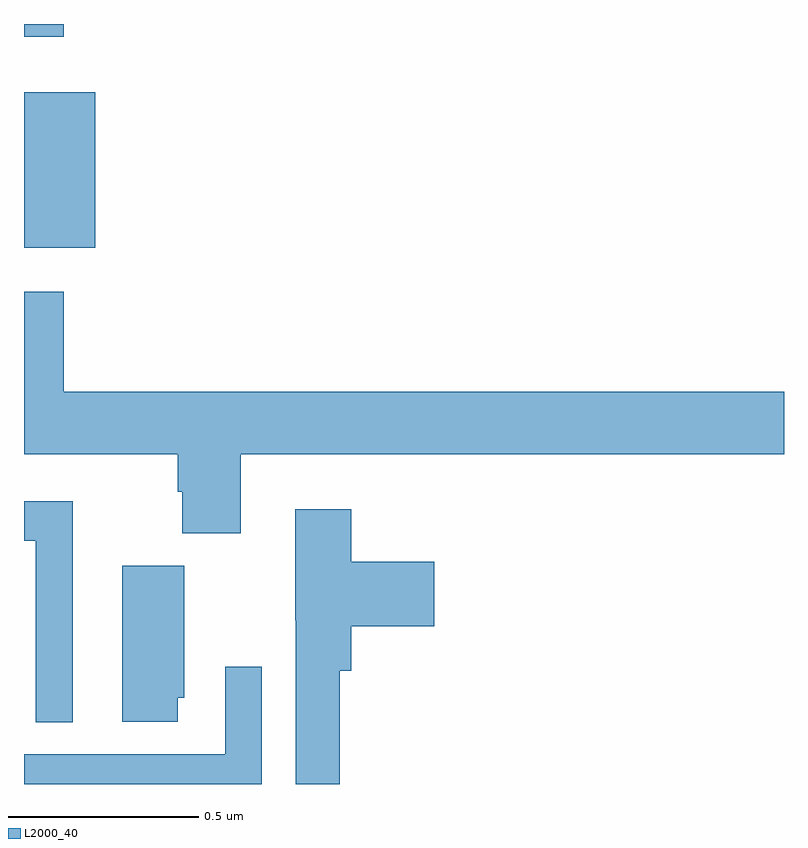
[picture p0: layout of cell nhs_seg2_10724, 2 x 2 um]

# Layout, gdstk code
import gdstk
lib = gdstk.Library(unit=1e-6, precision=1e-09)
def R(c, l, rs):  # rectangles x0, y0, x1, y1
    for r in rs: c.add(gdstk.rectangle(r[:2], r[2:], *l))
def P(c, l, *ps):  # polygons
    for p in ps: c.add(gdstk.Polygon(p, *l))
L2000_40 = (2000, 40)

nhs_seg2_10724 = lib.new_cell('nhs_seg2_10724')
R(nhs_seg2_10724, L2000_40, [(245,616.211,245.188,616.621), (245,616.767,245.105,616.8)])
P(nhs_seg2_10724, L2000_40, [(245.57,615.668),(247,615.668),(247,615.832),(245.105,615.832),(245.105,616.096),(245,616.096),(245,615.668),(245.405,615.668),(245.405,615.569),(245.417,615.569),(245.417,615.46),(245.57,615.46)],
  [(245.128,615.544),(245,615.544),(245,615.44),(245.031,615.44),(245.031,614.963),(245.128,614.963)],
  [(245.831,615.098),(245.861,615.098),(245.861,615.215),(246.079,615.215),(246.079,615.385),(245.861,615.385),(245.861,615.523),(245.714,615.523),(245.714,615.231),(245.715,615.231),(245.715,614.8),(245.831,614.8)],
  [(245.404,615.027),(245.422,615.027),(245.422,615.375),(245.258,615.375),(245.258,614.964),(245.404,614.964)],
  [(245.625,615.109),(245.529,615.109),(245.529,614.878),(245,614.878),(245,614.8),(245.625,614.8)])

lib.write_gds('nhs_seg2_10724.gds')
